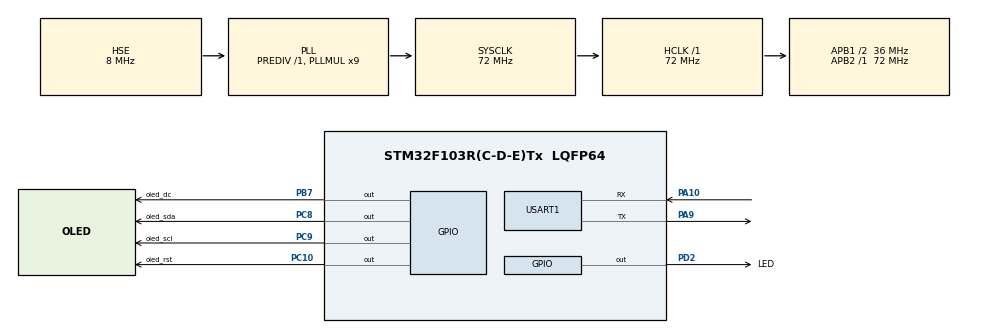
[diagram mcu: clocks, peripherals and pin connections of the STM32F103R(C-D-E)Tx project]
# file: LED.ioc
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FREERTOS.Tasks01=Task1,24,630,Task01,Default,NULL,Dynamic,NULL,NULL
Mcu.Family=STM32F1
Mcu.Name=STM32F103R(C-D-E)Tx
Mcu.Package=LQFP64
NVIC.PriorityGroup=NVIC_PRIORITYGROUP_4
NVIC.TIM1_UP_IRQn=true\:0\:0\:false\:false\:true\:false\:false\:true
NVIC.TimeBase=TIM1_UP_IRQn
NVIC.TimeBaseIP=TIM1
PA10.Mode=Asynchronous
PA10.Signal=USART1_RX
PA13.Mode=Serial_Wire
PA13.Signal=SYS_JTMS-SWDIO
PA14.Mode=Serial_Wire
PA14.Signal=SYS_JTCK-SWCLK
PA9.Mode=Asynchronous
PA9.Signal=USART1_TX
PB7.GPIO_Label=oled_dc
PB7.Signal=GPIO_Output
PC10.GPIO_Label=oled_rst
PC10.Signal=GPIO_Output
PC14-OSC32_IN.Mode=LSE-External-Oscillator
PC14-OSC32_IN.Signal=RCC_OSC32_IN
PC15-OSC32_OUT.Mode=LSE-External-Oscillator
PC15-OSC32_OUT.Signal=RCC_OSC32_OUT
PC8.GPIO_Label=oled_sda
PC8.Signal=GPIO_Output
PC9.GPIO_Label=oled_scl
PC9.Signal=GPIO_Output
PD0-OSC_IN.Mode=HSE-External-Oscillator
PD0-OSC_IN.Signal=RCC_OSC_IN
PD1-OSC_OUT.Mode=HSE-External-Oscillator
PD1-OSC_OUT.Signal=RCC_OSC_OUT
PD2.GPIO_Label=LED
PD2.GPIO_Speed=GPIO_SPEED_FREQ_HIGH
PD2.PinState=GPIO_PIN_SET
PD2.Signal=GPIO_Output
ProjectManager.HeapSize=0x200
ProjectManager.StackSize=0x400
ProjectManager.TargetToolchain=STM32CubeIDE
RCC.AHBFreq_Value=72000000
RCC.APB1CLKDivider=RCC_HCLK_DIV2
RCC.APB1Freq_Value=36000000
RCC.APB1TimFreq_Value=72000000
RCC.APB2Freq_Value=72000000
RCC.APB2TimFreq_Value=72000000
RCC.HCLKFreq_Value=72000000
RCC.PLLMUL=RCC_PLL_MUL9
RCC.PLLSourceVirtual=RCC_PLLSOURCE_HSE
RCC.SYSCLKFreq_VALUE=72000000
RCC.SYSCLKSource=RCC_SYSCLKSOURCE_PLLCLK
RCC.USBFreq_Value=72000000
USART1.VirtualMode=VM_ASYNC
VP_FREERTOS_VS_CMSIS_V2.Mode=CMSIS_V2
VP_SYS_VS_tim1.Mode=TIM1
board=custom

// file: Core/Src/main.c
/* USER CODE BEGIN Header */
/**
  ******************************************************************************
  * @file           : main.c
  * @brief          : Main program body
  ******************************************************************************
  * @attention
  *
  * <h2><center>&copy; Copyright (c) 2021 STMicroelectronics.
  * All rights reserved.</center></h2>
  *
  * This software component is licensed by ST under Ultimate Liberty license
  * SLA0044, the "License"; You may not use this file except in compliance with
  * the License. You may obtain a copy of the License at:
  *                             www.st.com/SLA0044
  *
  ******************************************************************************
  */
/* USER CODE END Header */
#include "main.h"
#include "cmsis_os.h"

/* USER CODE BEGIN Includes */
#include <stdio.h>
#include "oled.h"
/* USER CODE END Includes */

/* USER CODE BEGIN PM */
int ss,s,m=0;
/* USER CODE END PM */

UART_HandleTypeDef huart1;

/* Definitions for Task1 */
osThreadId_t Task1Handle;
const osThreadAttr_t Task1_attributes = {
  .name = "Task1",
  .stack_size = 700 * 4,
  .priority = (osPriority_t) osPriorityNormal,
};

void SystemClock_Config(void);
static void MX_GPIO_Init(void);
static void MX_USART1_UART_Init(void);
void Task01(void *argument);

/* USER CODE BEGIN 0 */
//#ifdef __GNUC__
//#define PUTCHAR_PROTOTYPE int __io_putchar(int ch)
//#else
//#define PUTCHAR_PROTOTYPE int fputc(int ch, FILE *f)
//#endif
//PUTCHAR_PROTOTYPE
//{
//同样USART2改为你的串口
//	HAL_UART_Transmit(&huart1, (uint8_t*)&ch,1,HAL_MAX_DELAY);
//    return ch;
//}
int _write(int file,char *ptr,int len)
{
	int i=0;
	for(i=0;i<len;i++)
	{
		ITM_SendChar((*ptr++));
	}
	return len;
}
/* USER CODE END 0 */

int main(void)
{

  /* MCU Configuration--------------------------------------------------------*/

  /* Reset of all peripherals, Initializes the Flash interface and the Systick. */
  HAL_Init();

  /* Configure the system clock */
  SystemClock_Config();

  /* Initialize all configured peripherals */
  MX_GPIO_Init();
  MX_USART1_UART_Init();
  /* USER CODE BEGIN 2 */
  OLED_Init();
  /* USER CODE END 2 */

  /* Init scheduler */
  osKernelInitialize();

  /* Create the thread(s) */
  /* creation of Task1 */
  Task1Handle = osThreadNew(Task01, NULL, &Task1_attributes);

  /* Start scheduler */
  osKernelStart();

  /* We should never get here as control is now taken by the scheduler */
  /* Infinite loop */
  while (1)
  {

  }
}

void SystemClock_Config(void)
{
  RCC_OscInitTypeDef RCC_OscInitStruct = {0};
  RCC_ClkInitTypeDef RCC_ClkInitStruct = {0};

  /** Initializes the RCC Oscillators according to the specified parameters
  * in the RCC_OscInitTypeDef structure.
  */
  RCC_OscInitStruct.OscillatorType = RCC_OSCILLATORTYPE_HSE;
  RCC_OscInitStruct.HSEState = RCC_HSE_ON;
  RCC_OscInitStruct.HSEPredivValue = RCC_HSE_PREDIV_DIV1;
  RCC_OscInitStruct.HSIState = RCC_HSI_ON;
  RCC_OscInitStruct.PLL.PLLState = RCC_PLL_ON;
  RCC_OscInitStruct.PLL.PLLSource = RCC_PLLSOURCE_HSE;
  RCC_OscInitStruct.PLL.PLLMUL = RCC_PLL_MUL9;
  if (HAL_RCC_OscConfig(&RCC_OscInitStruct) != HAL_OK)
  {
    Error_Handler();
  }
  /** Initializes the CPU, AHB and APB buses clocks
  */
  RCC_ClkInitStruct.ClockType = RCC_CLOCKTYPE_HCLK|RCC_CLOCKTYPE_SYSCLK
                              |RCC_CLOCKTYPE_PCLK1|RCC_CLOCKTYPE_PCLK2;
  RCC_ClkInitStruct.SYSCLKSource = RCC_SYSCLKSOURCE_PLLCLK;
  RCC_ClkInitStruct.AHBCLKDivider = RCC_SYSCLK_DIV1;
  RCC_ClkInitStruct.APB1CLKDivider = RCC_HCLK_DIV2;
  RCC_ClkInitStruct.APB2CLKDivider = RCC_HCLK_DIV1;

  if (HAL_RCC_ClockConfig(&RCC_ClkInitStruct, FLASH_LATENCY_2) != HAL_OK)
  {
    Error_Handler();
  }
}

static void MX_USART1_UART_Init(void)
{

  huart1.Instance = USART1;
  huart1.Init.BaudRate = 115200;
  huart1.Init.WordLength = UART_WORDLENGTH_8B;
  huart1.Init.StopBits = UART_STOPBITS_1;
  huart1.Init.Parity = UART_PARITY_NONE;
  huart1.Init.Mode = UART_MODE_TX_RX;
  huart1.Init.HwFlowCtl = UART_HWCONTROL_NONE;
  huart1.Init.OverSampling = UART_OVERSAMPLING_16;
  if (HAL_UART_Init(&huart1) != HAL_OK)
  {
    Error_Handler();
  }

}

static void MX_GPIO_Init(void)
{
  GPIO_InitTypeDef GPIO_InitStruct = {0};

  /* GPIO Ports Clock Enable */
  __HAL_RCC_GPIOC_CLK_ENABLE();
  __HAL_RCC_GPIOD_CLK_ENABLE();
  __HAL_RCC_GPIOA_CLK_ENABLE();
  __HAL_RCC_GPIOB_CLK_ENABLE();

  /*Configure GPIO pin Output Level */
  HAL_GPIO_WritePin(GPIOC, oled_sda_Pin|oled_scl_Pin|oled_rst_Pin, GPIO_PIN_RESET);

  /*Configure GPIO pin Output Level */
  HAL_GPIO_WritePin(LED_GPIO_Port, LED_Pin, GPIO_PIN_SET);

  /*Configure GPIO pin Output Level */
  HAL_GPIO_WritePin(oled_dc_GPIO_Port, oled_dc_Pin, GPIO_PIN_RESET);

  /*Configure GPIO pins : oled_sda_Pin oled_scl_Pin oled_rst_Pin */
  GPIO_InitStruct.Pin = oled_sda_Pin|oled_scl_Pin|oled_rst_Pin;
  GPIO_InitStruct.Mode = GPIO_MODE_OUTPUT_PP;
  GPIO_InitStruct.Pull = GPIO_NOPULL;
  GPIO_InitStruct.Speed = GPIO_SPEED_FREQ_LOW;
  HAL_GPIO_Init(GPIOC, &GPIO_InitStruct);

  /*Configure GPIO pin : LED_Pin */
  GPIO_InitStruct.Pin = LED_Pin;
  GPIO_InitStruct.Mode = GPIO_MODE_OUTPUT_PP;
  GPIO_InitStruct.Pull = GPIO_NOPULL;
  GPIO_InitStruct.Speed = GPIO_SPEED_FREQ_HIGH;
  HAL_GPIO_Init(LED_GPIO_Port, &GPIO_InitStruct);

  /*Configure GPIO pin : oled_dc_Pin */
  GPIO_InitStruct.Pin = oled_dc_Pin;
  GPIO_InitStruct.Mode = GPIO_MODE_OUTPUT_PP;
  GPIO_InitStruct.Pull = GPIO_NOPULL;
  GPIO_InitStruct.Speed = GPIO_SPEED_FREQ_LOW;
  HAL_GPIO_Init(oled_dc_GPIO_Port, &GPIO_InitStruct);

}

void Task01(void *argument)
{
  /* USER CODE BEGIN 5 */
  /* Infinite loop */
  for(;;)
  {

	  HAL_GPIO_TogglePin(GPIOD, GPIO_PIN_2);
	  //OLED_Clear();
	  //OLED_ShowNumber(0,0,ss,4,12);
	  	 if(ss==4)
	  	 {
	  		 //OLED_Clear();
	  		 printf("kaishi...\n");

	  		 //OLED_Refresh_Gram();
	  		 OLED_ShowNumber(0,14,s,4,12);
	  		OLED_ShowNumber(0,28,m,4,12);
	  		 //OLED_Refresh_Gram();
	  	 }
	  	 else if(ss==8)
	  	 {
	  		 OLED_Clear();
	  		 ss=0;
	  		 s++;
	  		 if(s==8)
	  		 {
	  			 s=0;
	  			 m++;
	  		 }
	  	 }
	  osDelay(1000);ss++;
  }
  /* USER CODE END 5 */
}

 /**
  * @brief  Period elapsed callback in non blocking mode
  * @note   This function is called  when TIM1 interrupt took place, inside
  * HAL_TIM_IRQHandler(). It makes a direct call to HAL_IncTick() to increment
  * a global variable "uwTick" used as application time base.
  * @param  htim : TIM handle
  * @retval None
  */
void HAL_TIM_PeriodElapsedCallback(TIM_HandleTypeDef *htim)
{
  if (htim->Instance == TIM1) {
    HAL_IncTick();
  }
}

void Error_Handler(void)
{
  __disable_irq();
  while (1)
  {
  }
}

/************************ (C) COPYRIGHT STMicroelectronics *****END OF FILE****/
